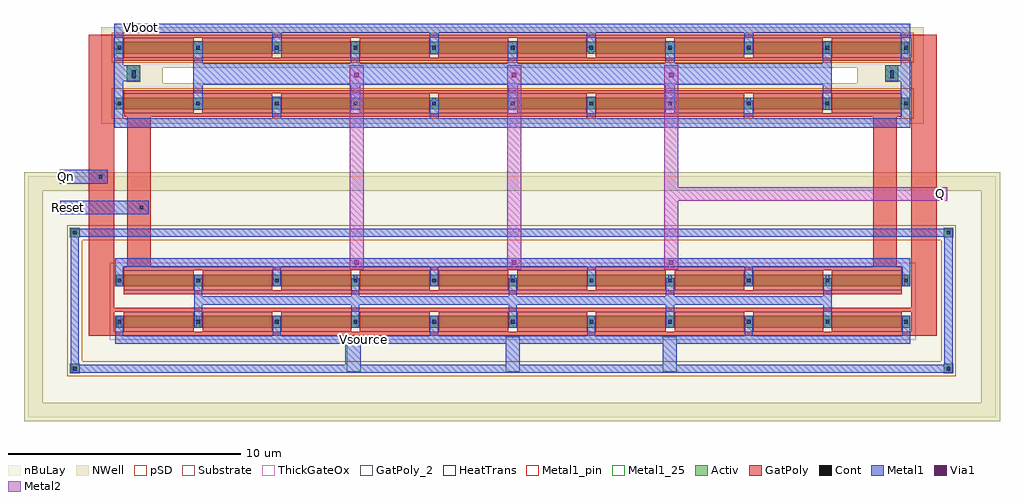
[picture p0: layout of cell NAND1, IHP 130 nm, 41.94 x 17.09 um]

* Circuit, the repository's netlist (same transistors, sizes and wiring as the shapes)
** sch_path: /home/wsl_rks/Designs/redesign_Floating_Gate_Driver_2025/ALL_Floating_Gate/Floating_Gate/NAND1.sch
.subckt NAND1 QN RESET vBOOT vsource Q
*.PININFO QN:B RESET:B vBOOT:B vsource:B Q:B
M20 Q RESET vBOOT vBOOT sg13_hv_pmos w=5u l=3u ng=10 m=1
M21 Q QN vBOOT vBOOT sg13_hv_pmos w=5u l=3u ng=10 m=1
M22 Q RESET net1 vsource sg13_hv_nmos w=5u l=3u ng=10 m=1
M23 net1 QN vsource vsource sg13_hv_nmos w=5u l=3u ng=10 m=1
.ends
.end

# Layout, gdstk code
from math import pi, radians
import gdstk
lib = gdstk.Library(unit=1e-6, precision=1e-09)
def R(c, l, rs):  # rectangles x0, y0, x1, y1
    for r in rs: c.add(gdstk.rectangle(r[:2], r[2:], *l))
def A(c, l, x, y, w, h, nx, ny, dx, dy):  # array of equal rectangles
    R(c, l, [(x+i*dx, y+j*dy, x+i*dx+w, y+j*dy+h) for i in range(nx) for j in range(ny)])
Activ = (1, 0)
GatPoly = (5, 0)
GatPoly_2 = (5, 2)
Cont = (6, 0)
Metal1 = (8, 0)
Metal1_pin = (8, 2)
Metal1_25 = (8, 25)
Metal2 = (10, 0)
pSD = (14, 0)
Via1 = (19, 0)
NWell = (31, 0)
nBuLay = (32, 0)
Substrate = (40, 0)
ThickGateOx = (44, 0)
HeatTrans = (51, 0)

pmoshv = lib.new_cell('pmosHV')
A(pmoshv, Activ, 0, 0, 0.3, 0.3, 11, 1, 3.38, 0)
R(pmoshv, Activ, [(0,0,34.1,0.5)])
A(pmoshv, GatPoly, 0.34, -0.18, 3, 0.86, 10, 1, 3.38, 0)
R(pmoshv, GatPoly_2, [(0.34,-0.18,3.34,0.68)])
A(pmoshv, Cont, 0.07, 0.17, 0.16, 0.16, 11, 1, 3.38, 0)
A(pmoshv, Metal1, 0.07, 0, 0.16, 0.5, 11, 1, 3.38, 0)
R(pmoshv, Metal1_pin, [(0.07,0,0.23,0.5), (3.45,0,3.61,0.5)])
R(pmoshv, pSD, [(-0.18,-0.4,34.28,0.9)])
R(pmoshv, NWell, [(-0.62,-0.62,34.72,1.12)])
R(pmoshv, Substrate, [(33.8,0,34.1,0.3)])
R(pmoshv, ThickGateOx, [(-0.62,-0.62,34.72,1.12)])
A(pmoshv, HeatTrans, 0.34, -0.18, 3, 0.86, 10, 1, 3.38, 0)
pmoshv.add(gdstk.Label('pmosHV', (1.84,0.25), layer=63, texttype=0))
pmoshv.add(gdstk.Label('pmos', (1.84,0.25), layer=51, texttype=0))
pmoshv.add(gdstk.Label('pmos', (5.22,0.25), layer=51, texttype=0))
pmoshv.add(gdstk.Label('pmos', (8.6,0.25), layer=51, texttype=0))
pmoshv.add(gdstk.Label('pmos', (11.98,0.25), layer=51, texttype=0))
pmoshv.add(gdstk.Label('pmos', (15.36,0.25), layer=51, texttype=0))
pmoshv.add(gdstk.Label('pmos', (18.74,0.25), layer=51, texttype=0))
pmoshv.add(gdstk.Label('pmos', (22.12,0.25), layer=51, texttype=0))
pmoshv.add(gdstk.Label('pmos', (25.5,0.25), layer=51, texttype=0))
pmoshv.add(gdstk.Label('pmos', (28.88,0.25), layer=51, texttype=0))
pmoshv.add(gdstk.Label('pmos', (32.26,0.25), layer=51, texttype=0))

nmoshv_1 = lib.new_cell('nmosHV$1')
A(nmoshv_1, Activ, 0, 0, 0.3, 0.3, 11, 1, 3.38, 0)
R(nmoshv_1, Activ, [(0,0,34.1,0.5)])
A(nmoshv_1, GatPoly, 0.34, -0.18, 3, 0.86, 10, 1, 3.38, 0)
R(nmoshv_1, GatPoly_2, [(0.34,-0.18,3.34,0.68)])
A(nmoshv_1, Cont, 0.07, 0.17, 0.16, 0.16, 11, 1, 3.38, 0)
A(nmoshv_1, Metal1, 0.07, 0, 0.16, 0.5, 11, 1, 3.38, 0)
R(nmoshv_1, Metal1_pin, [(0.07,0,0.23,0.5), (3.45,0,3.61,0.5)])
R(nmoshv_1, ThickGateOx, [(-0.27,-0.52,34.37,1.02)])
A(nmoshv_1, HeatTrans, 0.34, -0.18, 3, 0.86, 10, 1, 3.38, 0)
nmoshv_1.add(gdstk.Label('nmosHV', (1.84,0.25), layer=63, texttype=0))
nmoshv_1.add(gdstk.Label('nmosHV', (1.84,0.25), layer=51, texttype=0))
nmoshv_1.add(gdstk.Label('nmosHV', (5.22,0.25), layer=51, texttype=0))
nmoshv_1.add(gdstk.Label('nmosHV', (8.6,0.25), layer=51, texttype=0))
nmoshv_1.add(gdstk.Label('nmosHV', (11.98,0.25), layer=51, texttype=0))
nmoshv_1.add(gdstk.Label('nmosHV', (15.36,0.25), layer=51, texttype=0))
nmoshv_1.add(gdstk.Label('nmosHV', (18.74,0.25), layer=51, texttype=0))
nmoshv_1.add(gdstk.Label('nmosHV', (22.12,0.25), layer=51, texttype=0))
nmoshv_1.add(gdstk.Label('nmosHV', (25.5,0.25), layer=51, texttype=0))
nmoshv_1.add(gdstk.Label('nmosHV', (28.88,0.25), layer=51, texttype=0))
nmoshv_1.add(gdstk.Label('nmosHV', (32.26,0.25), layer=51, texttype=0))

c_m1 = lib.new_cell('C_M1')
R(c_m1, Cont, [(-0.08,-0.08,0.08,0.08)])
R(c_m1, Metal1, [(-0.15,-0.15,0.15,0.15)])

m1_m2 = lib.new_cell('M1_M2')
R(m1_m2, Metal1, [(-0.15,-0.15,0.15,0.15)])
R(m1_m2, Metal2, [(-0.19,-0.19,0.19,0.19)])
R(m1_m2, Via1, [(-0.095,-0.095,0.095,0.095)])

nand1 = lib.new_cell('NAND1')
R(nand1, Activ, [(-30.77,2.395,-30.35,2.795), (6.775,2.395,7.195,2.795), (-30.77,8.245,-30.35,8.645), (6.775,8.245,7.195,8.645), (-28.325,14.93,-27.755,15.635), (4.255,14.93,4.825,15.635)])
R(nand1, GatPoly, [(-29.965,4.015,-28.865,16.95), (-29,4.015,5.525,4.18), (5.385,4.015,6.475,16.95), (-28.97,5.04,5.425,5.205), (-28.45,5.79,4.97,5.955), (-28.3,6.11,-27.3,14.555), (3.755,6.11,4.755,14.555), (-28.45,6.815,4.97,6.98), (-28.445,13.425,4.965,13.56), (-28.455,14.42,4.955,14.555), (-29.075,15.82,5.445,15.955), (-28.99,16.815,5.45,16.95)])
R(nand1, Cont, [(-28.105,15.08,-27.945,15.42), (4.475,15.08,4.635,15.42)])
R(nand1, Metal1, [(-18.95,2.465,-18.28,3.965), (-12.04,2.465,-11.44,3.965), (-5.295,2.465,-4.695,3.965), (4.255,14.935,5.335,15.63), (-28.815,14.945,-27.755,15.625), (-25.465,15.18,1.975,15.415)])
R(nand1, NWell, [(-29.415,13.8,-26.775,16.815), (3.07,13.8,5.925,16.815)])
R(nand1, nBuLay, [(-32.57,0.505,9.02,10.855)])
R(nand1, ThickGateOx, [(-29.06,5.22,5.58,5.835), (-29.415,14.595,5.925,15.81)])
nand1.add(gdstk.FlexPath([(-28.67,16.085),(-28.67,14.03)], 0.4, ends="extended", simple_path=True, layer=8, datatype=0))  # Metal1
nand1.add(gdstk.FlexPath([(-28.67,14.33),(-28.67,13.155),(5.135,13.155),(5.135,14.07)], 0.4, ends="extended", simple_path=True, layer=8, datatype=0))  # Metal1
nand1.add(gdstk.FlexPath([(-11.735,13.91),(-11.735,14.65)], 0.4, ends="extended", simple_path=True, layer=8, datatype=0))  # Metal1
nand1.add(gdstk.FlexPath([(-18.505,13.91),(-18.505,14.65)], 0.4, ends="extended", simple_path=True, layer=8, datatype=0))  # Metal1
nand1.add(gdstk.FlexPath([(-4.98,13.91),(-4.98,14.65)], 0.4, ends="extended", simple_path=True, layer=8, datatype=0))  # Metal1
nand1.add(gdstk.FlexPath([(5.135,16.045),(5.135,17.22),(-28.67,17.22),(-28.67,16.305)], 0.4, ends="extended", simple_path=True, layer=8, datatype=0))  # Metal1
nand1.add(gdstk.FlexPath([(-25.265,16.465),(-25.265,15.525),(1.775,15.525),(1.775,16.465)], 0.4, ends="extended", simple_path=True, layer=8, datatype=0))  # Metal1
nand1.add(gdstk.FlexPath([(-1.605,16.305),(-1.605,16.985)], 0.4, ends="extended", simple_path=True, layer=8, datatype=0))  # Metal1
nand1.add(gdstk.FlexPath([(-4.985,16.465),(-4.985,15.63)], 0.4, ends="extended", simple_path=True, layer=8, datatype=0))  # Metal1
nand1.add(gdstk.FlexPath([(-8.37,16.415),(-8.37,17.02)], 0.4, ends="extended", simple_path=True, layer=8, datatype=0))  # Metal1
nand1.add(gdstk.FlexPath([(-11.755,16.465),(-11.755,15.725)], 0.4, ends="extended", simple_path=True, layer=8, datatype=0))  # Metal1
nand1.add(gdstk.FlexPath([(-15.12,16.305),(-15.12,17.065)], 0.4, ends="extended", simple_path=True, layer=8, datatype=0))  # Metal1
nand1.add(gdstk.FlexPath([(-18.51,16.465),(-18.51,15.645)], 0.4, ends="extended", simple_path=True, layer=8, datatype=0))  # Metal1
nand1.add(gdstk.FlexPath([(-21.875,16.465),(-21.875,17.22),(-21.91,17.22)], 0.4, ends="extended", simple_path=True, layer=8, datatype=0))  # Metal1
nand1.add(gdstk.FlexPath([(1.775,13.91),(1.775,15.005),(-25.265,15.005),(-25.265,13.91)], 0.4, ends="extended", simple_path=True, layer=8, datatype=0))  # Metal1
nand1.add(gdstk.FlexPath([(-21.885,14.07),(-21.885,13.39)], 0.4, ends="extended", simple_path=True, layer=8, datatype=0))  # Metal1
nand1.add(gdstk.FlexPath([(-18.505,13.91),(-18.505,14.745)], 0.4, ends="extended", simple_path=True, layer=8, datatype=0))  # Metal1
nand1.add(gdstk.FlexPath([(-15.12,13.96),(-15.12,13.355)], 0.4, ends="extended", simple_path=True, layer=8, datatype=0))  # Metal1
nand1.add(gdstk.FlexPath([(-11.735,13.91),(-11.735,14.65)], 0.4, ends="extended", simple_path=True, layer=8, datatype=0))  # Metal1
nand1.add(gdstk.FlexPath([(-8.37,14.07),(-8.37,13.31)], 0.4, ends="extended", simple_path=True, layer=8, datatype=0))  # Metal1
nand1.add(gdstk.FlexPath([(-4.98,13.91),(-4.98,14.73)], 0.4, ends="extended", simple_path=True, layer=8, datatype=0))  # Metal1
nand1.add(gdstk.FlexPath([(-1.615,13.91),(-1.615,13.155),(-1.58,13.155)], 0.4, ends="extended", simple_path=True, layer=8, datatype=0))  # Metal1
nand1.add(gdstk.FlexPath([(5.135,16.085),(5.135,14.03)], 0.4, ends="extended", simple_path=True, layer=8, datatype=0))  # Metal1
nand1.add(gdstk.FlexPath([(-28.645,6.305),(-28.645,7.155),(5.16,7.155),(5.16,6.305)], 0.35, ends="extended", simple_path=True, layer=8, datatype=0))  # Metal1
nand1.add(gdstk.FlexPath([(-1.6,6.305),(-1.6,6.655),(-1.6,7.03)], 0.35, ends="extended", simple_path=True, layer=8, datatype=0))  # Metal1
nand1.add(gdstk.FlexPath([(-8.36,6.305),(-8.36,6.815)], 0.35, ends="extended", simple_path=True, layer=8, datatype=0))  # Metal1
nand1.add(gdstk.FlexPath([(-15.12,6.305),(-15.12,6.83)], 0.35, ends="extended", simple_path=True, layer=8, datatype=0))  # Metal1
nand1.add(gdstk.FlexPath([(-21.885,6.305),(-21.885,6.98)], 0.35, ends="extended", simple_path=True, layer=8, datatype=0))  # Metal1
nand1.add(gdstk.FlexPath([(5.16,4.69),(5.16,3.84),(-28.645,3.84),(-28.645,4.69)], 0.35, ends="extended", simple_path=True, layer=8, datatype=0))  # Metal1
nand1.add(gdstk.FlexPath([(-21.885,4.69),(-21.885,4.34),(-21.885,3.965)], 0.35, ends="extended", simple_path=True, layer=8, datatype=0))  # Metal1
nand1.add(gdstk.FlexPath([(-15.125,4.69),(-15.125,4.18)], 0.35, ends="extended", simple_path=True, layer=8, datatype=0))  # Metal1
nand1.add(gdstk.FlexPath([(-8.365,4.69),(-8.365,4.165)], 0.35, ends="extended", simple_path=True, layer=8, datatype=0))  # Metal1
nand1.add(gdstk.FlexPath([(-1.6,4.69),(-1.6,4.015)], 0.35, ends="extended", simple_path=True, layer=8, datatype=0))  # Metal1
nand1.add(gdstk.FlexPath([(-25.26,6.465),(-25.26,4.53)], 0.35, ends="extended", simple_path=True, layer=8, datatype=0))  # Metal1
nand1.add(gdstk.FlexPath([(-4.985,6.305),(-4.985,4.53)], 0.35, ends="extended", simple_path=True, layer=8, datatype=0))  # Metal1
nand1.add(gdstk.FlexPath([(1.78,6.305),(1.78,4.53)], 0.35, ends="extended", simple_path=True, layer=8, datatype=0))  # Metal1
nand1.add(gdstk.FlexPath([(-25.26,5.525),(1.78,5.525)], 0.35, ends="extended", simple_path=True, layer=8, datatype=0))  # Metal1
nand1.add(gdstk.FlexPath([(-30.565,8.44),(6.98,8.44),(6.98,2.59),(-30.565,2.59),(-30.565,8.44)], 0.35, ends="extended", simple_path=True, layer=8, datatype=0))  # Metal1
nand1.add(gdstk.FlexPath([(-18.505,6.305),(-18.505,4.53)], 0.35, ends="extended", simple_path=True, layer=8, datatype=0))  # Metal1
nand1.add(gdstk.FlexPath([(-11.75,6.305),(-11.75,4.53)], 0.35, ends="extended", simple_path=True, layer=8, datatype=0))  # Metal1
nand1.add(gdstk.FlexPath([(-29.45,10.835),(-30.91,10.835)], 0.6, ends="extended", simple_path=True, layer=8, datatype=0))  # Metal1
nand1.add(gdstk.FlexPath([(-27.695,9.52),(-30.895,9.52)], 0.6, ends="extended", simple_path=True, layer=8, datatype=0))  # Metal1
nand1.add(gdstk.FlexPath([(-11.685,7.155),(-11.685,15.325)], 0.6, ends="extended", simple_path=True, layer=10, datatype=0))  # Metal2
nand1.add(gdstk.FlexPath([(-11.685,7.155),(-11.685,15.325)], 0.6, ends="extended", simple_path=True, layer=10, datatype=0))  # Metal2
nand1.add(gdstk.FlexPath([(-18.455,7.155),(-18.455,15.325)], 0.6, ends="extended", simple_path=True, layer=10, datatype=0))  # Metal2
nand1.add(gdstk.FlexPath([(-4.93,7.155),(-4.93,15.325)], 0.6, ends="extended", simple_path=True, layer=10, datatype=0))  # Metal2
nand1.add(gdstk.FlexPath([(-4.93,10.1),(6.625,10.1),(6.625,10.1)], 0.6, ends="extended", simple_path=True, layer=10, datatype=0))  # Metal2
nand1.add(gdstk.FlexPath([(-30.565,8.44),(-30.565,2.59),(6.98,2.59),(6.98,8.44),(-30.565,8.44)], 0.64, ends="extended", simple_path=True, layer=14, datatype=0))  # pSD
nand1.add(gdstk.FlexPath([(-29.81,0.73),(8.795,0.73),(8.795,10.63),(-32.345,10.63),(-32.345,0.73),(-29.81,0.73)], 0.8, ends="extended", simple_path=True, layer=31, datatype=0))  # NWell
nand1.add(gdstk.FlexPath([(-11.74,2.765),(-11.74,3.665)], 0.6, ends="extended", simple_path=True, layer=8, datatype=25))  # Metal1_25
nand1.add(gdstk.FlexPath([(-18.58,2.765),(-18.58,3.665)], 0.6, ends="extended", simple_path=True, layer=8, datatype=25))  # Metal1_25
nand1.add(gdstk.FlexPath([(-4.995,2.765),(-4.995,3.665)], 0.6, ends="extended", simple_path=True, layer=8, datatype=25))  # Metal1_25
nand1.add(gdstk.Reference(pmoshv, (5.305,16.635), rotation=pi))
nand1.add(gdstk.Reference(pmoshv, (5.305,14.24), rotation=pi))
nand1.add(gdstk.Reference(nmoshv_1, (5.31,6.635), rotation=pi))
nand1.add(gdstk.Reference(nmoshv_1, (-28.79,4.36)))
nand1.add(gdstk.Reference(c_m1, (-30.565,8.44), rotation=pi))
nand1.add(gdstk.Reference(c_m1, (6.98,8.44), rotation=pi))
nand1.add(gdstk.Reference(c_m1, (-30.565,2.59), rotation=pi))
nand1.add(gdstk.Reference(c_m1, (6.98,2.59), rotation=pi))
nand1.add(gdstk.Reference(m1_m2, (-11.685,15.21), rotation=pi))
nand1.add(gdstk.Reference(m1_m2, (-11.69,7.155), rotation=pi))
nand1.add(gdstk.Reference(m1_m2, (-11.685,15.21), rotation=pi))
nand1.add(gdstk.Reference(m1_m2, (-11.69,7.155), rotation=pi))
nand1.add(gdstk.Reference(m1_m2, (-18.46,7.155), rotation=pi))
nand1.add(gdstk.Reference(m1_m2, (-18.455,15.21), rotation=pi))
nand1.add(gdstk.Reference(m1_m2, (-4.935,7.155), rotation=pi))
nand1.add(gdstk.Reference(m1_m2, (-4.93,15.21), rotation=pi))
nand1.add(gdstk.Reference(c_m1, (-29.46,10.84), rotation=pi))
nand1.add(gdstk.Reference(c_m1, (-27.7,9.525), rotation=pi))
nand1.add(gdstk.Label('Vboot', (-27.685,17.265), layer=8, texttype=25))
nand1.add(gdstk.Label('Vsource', (-18.145,3.84), layer=8, texttype=25))
nand1.add(gdstk.Label('Reset', (-30.83,9.52), layer=8, texttype=25))
nand1.add(gdstk.Label('Qn', (-30.91,10.835), layer=8, texttype=25))
nand1.add(gdstk.Label('Q', (6.62,10.1), layer=10, texttype=25))

lib.write_gds('NAND1.gds')
